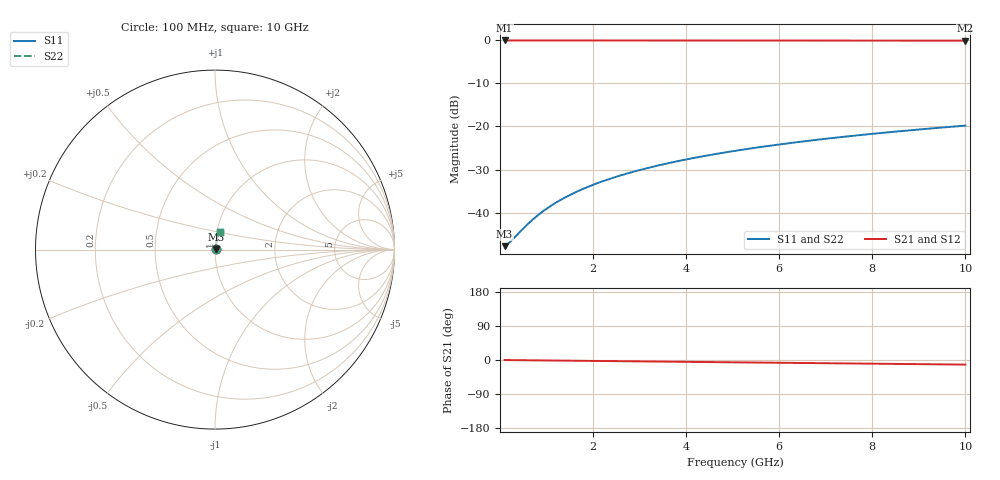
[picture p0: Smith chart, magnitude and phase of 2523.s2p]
# Hz S RI R 50.00
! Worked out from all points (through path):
!   100 points, 100 MHz to 10 GHz, reference 50 ohm
!   highest |S21| = -0.03 dB at 100 MHz (marker M1); lowest = -0.1 dB at 10 GHz (marker M2)
!   group delay of S21, straight-line fit = 3.37 ps
!   lowest |S11| = -47.8 dB at 100 MHz (marker M3), VSWR 1.01, Z = 50.4 + j0.103 ohm
!   |S11| at or under -10 dB: start of sweep to end of sweep
!   |S22| runs from -47.8 to -19.8 dB; largest |S21 - S12| = 0
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1e8  0.00395 0.00102  0.996 -0.00211  0.996 -0.00211  0.00395 0.00102
2e8  0.00399 0.00205  0.996 -0.00422  0.996 -0.00422  0.00399 0.00205
6e8  0.00411 0.00614  0.9959 -0.0127  0.9959 -0.0127  0.00411 0.00614
7e8  0.00415 0.00716  0.9958 -0.0148  0.9958 -0.0148  0.00415 0.00716
9e8  0.00424 0.00921  0.9957 -0.019  0.9957 -0.019  0.00424 0.00921
1.1e9  0.00434 0.0112  0.9956 -0.0232  0.9956 -0.0232  0.00434 0.0112
1.3e9  0.00446 0.0133  0.9954 -0.0274  0.9954 -0.0274  0.00446 0.0133
1.5e9  0.00459 0.0153  0.9953 -0.0317  0.9953 -0.0317  0.00459 0.0153
1.8e9  0.00483 0.0184  0.995 -0.038  0.995 -0.038  0.00483 0.0184
2.1e9  0.00509 0.0215  0.9946 -0.0443  0.9946 -0.0443  0.00509 0.0215
2.5e9  0.00551 0.0255  0.9941 -0.0527  0.9941 -0.0527  0.00551 0.0255
2.9e9  0.006 0.0296  0.9935 -0.0611  0.9935 -0.0611  0.006 0.0296
3.4e9  0.0067 0.0346  0.9926 -0.0717  0.9926 -0.0717  0.0067 0.0346
3.8e9  0.00733 0.0387  0.9918 -0.08  0.9918 -0.08  0.00733 0.0387
4.2e9  0.00804 0.0427  0.9909 -0.0884  0.9909 -0.0884  0.00804 0.0427
4.6e9  0.00881 0.0467  0.9899 -0.0968  0.9899 -0.0968  0.00881 0.0467
5.1e9  0.00987 0.0517  0.9885 -0.1073  0.9885 -0.1073  0.00987 0.0517
5.9e9  0.0118 0.0597  0.9861 -0.1239  0.9861 -0.1239  0.0118 0.0597
6.7e9  0.014 0.0675  0.9833 -0.1405  0.9833 -0.1405  0.014 0.0675
7.5e9  0.0164 0.0753  0.9802 -0.157  0.9802 -0.157  0.0164 0.0753
8.4e9  0.0195 0.084  0.9762 -0.1755  0.9762 -0.1755  0.0195 0.084
1e10  0.0257 0.099  0.9682 -0.2081  0.9682 -0.2081  0.0257 0.099
